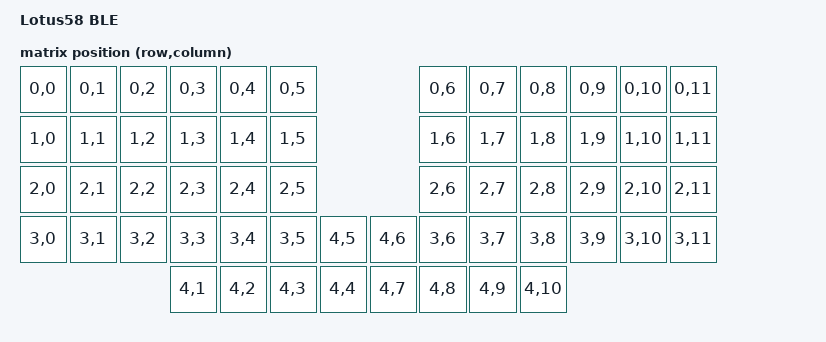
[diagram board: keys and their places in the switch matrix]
// SPDX-License-Identifier: MIT

/dts-v1/;

#include <nordic/nrf52840_qiaa.dtsi>
#include "lotus58_ble-pinctrl.dtsi"

#include <dt-bindings/zmk/matrix_transform.h>

/ {
    model = "Lotus58 BLE";
    compatible = "lotus58_ble";

  chosen {
    zephyr,code-partition = &code_partition;
    zephyr,sram = &sram0;
    zephyr,flash = &flash0;
    zmk,kscan = &kscan0;
    zmk,physical-layout = &default_layout;
    zmk,battery = &vbatt;
  };

  default_transform: keymap_transform_0 {
      compatible = "zmk,matrix-transform";
      columns = <12>;
      rows = <5>;

      // Switch positions
      // | SW01 | SW02 | SW03 | SW04 | SW05 | SW06 |                      | SW06 | SW05 | SW04 | SW03 | SW02 | SW01 |
      // | SW07 | SW08 | SW09 | SW10 | SW11 | SW12 |                      | SW12 | SW11 | SW10 | SW09 | SW08 | SW07 |
      // | SW13 | SW14 | SW15 | SW16 | SW17 | SW18 |                      | SW18 | SW17 | SW16 | SW15 | SW14 | SW13 |
      // | SW19 | SW20 | SW21 | SW22 | SW23 | SW24 | SW29 |        | SW29 | SW24 | SW23 | SW22 | SW21 | SW20 | SW19 |
      //                      | SW25 | SW26 | SW27 | SW28 |        | SW28 | SW27 | SW26 | SW25 |
      // Switch positions as noted in the PCB file.
      // | SW06 | SW01 | SW02 | SW03 | SW04 | SW05 |                      | SW05 | SW04 | SW03 | SW02 | SW01 | SW06 |
      // | SW11 | SW12 | SW07 | SW08 | SW09 | SW10 |                      | SW10 | SW09 | SW08 | SW07 | SW12 | SW11 |
      // | SW16 | SW17 | SW18 | SW13 | SW14 | SW15 |                      | SW15 | SW14 | SW13 | SW18 | SW17 | SW16 |
      // | SW21 | SW22 | SW23 | SW24 | SW19 | SW20 | SW25 |        | SW25 | SW20 | SW19 | SW24 | SW23 | SW22 | SW21 |
      //                      | SW26 | SW27 | SW28 | SW29 |        | SW29 | SW28 | SW27 | SW26 |

      map = <
      RC(0,0) RC(0,1) RC(0,2) RC(0,3) RC(0,4) RC(0,5)                    RC(0,6) RC(0,7) RC(0,8) RC(0,9) RC(0,10) RC(0,11)
      RC(1,0) RC(1,1) RC(1,2) RC(1,3) RC(1,4) RC(1,5)                    RC(1,6) RC(1,7) RC(1,8) RC(1,9) RC(1,10) RC(1,11)
      RC(2,0) RC(2,1) RC(2,2) RC(2,3) RC(2,4) RC(2,5)                    RC(2,6) RC(2,7) RC(2,8) RC(2,9) RC(2,10) RC(2,11)
      RC(3,0) RC(3,1) RC(3,2) RC(3,3) RC(3,4) RC(3,5) RC(4,5)    RC(4,6) RC(3,6) RC(3,7) RC(3,8) RC(3,9) RC(3,10) RC(3,11)
                              RC(4,1) RC(4,2) RC(4,3) RC(4,4)    RC(4,7) RC(4,8) RC(4,9) RC(4,10)
      >;
  };

  default_layout: physical_layout_0 {
    compatible = "zmk,physical-layout";
    display-name = "Default Layout";
    transform = <&default_transform>;
  };

  kscan0: kscan0 {
      compatible = "zmk,kscan-gpio-charlieplex";
      wakeup-source;

      // Matrix pin-labels as taken from the schematic.
      // Pin0 = P0.02
      // Pin1 = P0.28
      // Pin2 = P0.03
      // Pin3 = P0.09
      // Pin4 = P0.10
      // Pin5 = P0.24
      // Pin6 = P0.13

      // Pin connections as noted in the schematic.
      // |      |      | Pin1 | Pin2 | Pin3 | Pin4 | Pin5 | Pin0 |
      // |      |      |      |      |      |      |      |      |
      // | Pin6 |      |      | SW01 | SW02 | SW03 | SW04 | SW05 |
      // | Pin6 |      | SW06 |      | SW07 | SW08 | SW09 | SW10 |
      // | Pin6 |      | SW11 | SW12 |      | SW13 | SW14 | SW15 |
      // | Pin6 |      | SW16 | SW17 | SW18 |      | SW19 | SW20 |
      // | Pin6 |      | SW21 | SW22 | SW23 | SW24 |      | SW25 |
      // | Pin6 |      |      | SW26 | SW27 | SW29 |      |  

      interrupt-gpios = <&gpio0 13 (GPIO_ACTIVE_LOW | GPIO_PULL_UP)>;
      gpios
        = <&gpio0  2 GPIO_ACTIVE_LOW>
        , <&gpio0 28 GPIO_ACTIVE_LOW>
        , <&gpio0  3 GPIO_ACTIVE_LOW>
        , <&gpio0  9 GPIO_ACTIVE_LOW>
        , <&gpio0 10 GPIO_ACTIVE_LOW>
        , <&gpio0 24 GPIO_ACTIVE_LOW>
        ;
  };

/*
  left_encoder: encoder_left {
    compatible = "alps,ec11";
    a-gpios = <&gpio1 10 (GPIO_ACTIVE_HIGH | GPIO_PULL_UP)>;
    b-gpios = <&gpio1 13 (GPIO_ACTIVE_HIGH | GPIO_PULL_UP)>;
    steps = <80>;
    status = "disabled";
  };

  right_encoder: encoder_right {
    compatible = "alps,ec11";
    a-gpios = <&gpio1 10 (GPIO_ACTIVE_HIGH | GPIO_PULL_UP)>;
    b-gpios = <&gpio1 13 (GPIO_ACTIVE_HIGH | GPIO_PULL_UP)>;
    steps = <80>;
    status = "disabled";
  };

  sensors: sensors {
    compatible = "zmk,keymap-sensors";
    sensors = <&left_encoder &right_encoder>;
    triggers-per-rotation = <20>;
  };
*/

  vbatt: vbatt {
    compatible = "zmk,battery-nrf-vddh";
  };
};

&adc {
  status = "okay";
};

&gpiote {
  status = "okay";
};

&gpio0 {
  status = "okay";
};

&gpio1 {
  status = "okay";
};

/*
nice_view_spi: &spi1 {
  status = "okay";
  compatible = "nordic,nrf-spim";
  pinctrl-0 = <&spi1_default>;
  pinctrl-1 = <&spi1_sleep>;
  pinctrl-names = "default", "sleep";
  cs-gpios = <&gpio0 31 GPIO_ACTIVE_LOW>;
};
*/

zephyr_udc0: &usbd {
  status = "okay";
};

&uart0 {
  compatible = "nordic,nrf-uart";
  current-speed = <115200>;
  pinctrl-0 = <&uart0_default>;
  pinctrl-1 = <&uart0_sleep>;
  pinctrl-names = "default", "sleep";
};

&uicr {
  nfct-pins-as-gpios;
};

&flash0 {
  partitions {
    compatible = "fixed-partitions";
    #address-cells = <1>;
    #size-cells = <1>;

    sd_partition: partition@0 {
      reg = <0x00000000 0x00027000>;
    };

    code_partition: partition@27000 {
      reg = <0x00027000 0x000c5000>;
    };

    storage_partition: partition@ec000 {
      reg = <0x000ec000 0x00008000>;
    };

    boot_partition: partition@f4000 {
      reg = <0x000f4000 0x0000c000>;
    };
  };
};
